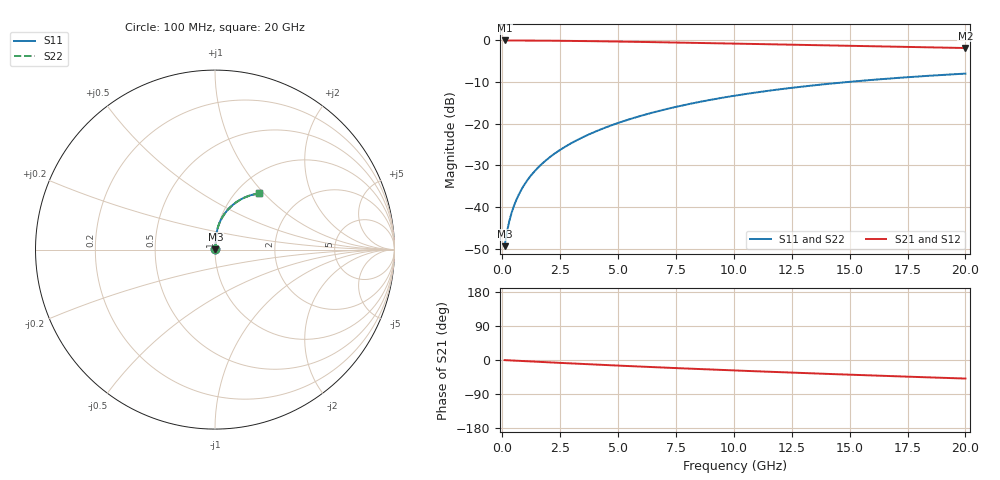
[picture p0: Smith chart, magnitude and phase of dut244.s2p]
! Touchstone file exported from HFSS 2024.1.0
!  File:  C:/UserFiles/LocalFiles/RDL_TSV_Batchsim/temp_RDL_top_244_1778688643.aedt
!  Generated:  12:13:28 AM May 14, 2026
!  Design:  RDL_top
!  Project:  temp_RDL_top_244_1778688643
!  Setup:  Setup1
!  Solution:  Sweep
! Variables:
!  dtsv = 10.80580581um
!  hbump = 3um
!  htsv = 93.9um
!  ldown = 100um
!  lrdl = 691.08um
!  p = 40
!  p1 = 59.32um
!  rhole = 1um
!  t = 450um
!  tdown = 3.915915916um
!  trdl = 3.82um
!  wdown = 15.38538539um
!  wrdl = 26.72um
# GHz S MA R 50.000000
! Terminal data exported
! Port[1] = Box2_T1
! Port[2] = Box2_T2
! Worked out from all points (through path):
!   200 points, 100 MHz to 20 GHz, reference 50 ohm
!   highest |S21| = -0.02 dB at 100 MHz (marker M1); lowest = -1.8 dB at 20 GHz (marker M2)
!   group delay of S21, straight-line fit = 6.73 ps
!   lowest |S11| = -49.4 dB at 100 MHz (marker M3), VSWR 1.01, Z = 50.3 + j0.214 ohm
!   |S11| at or under -10 dB: start of sweep to 14.91 GHz
!   |S22| runs from -49.4 to -8.0 dB; largest |S21 - S12| = 4.2e-15
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0.1  0.00338 38.9  0.9974 -0.3  0.9974 -0.3  0.00338 38.9
! Gamma 0 0 0 0
! Port Impedance 50 0 50 0
0.2  0.004987 55.8  0.9971 -0.6  0.9971 -0.6  0.004987 55.8
0.3  0.006712 63.9  0.9969 -0.9  0.9969 -0.9  0.006712 63.9
0.4  0.008461 68.8  0.9967 -1.3  0.9967 -1.3  0.008461 68.8
0.5  0.01023 72.1  0.9965 -1.6  0.9965 -1.6  0.01023 72.1
0.6  0.01202 74.6  0.9963 -1.9  0.9963 -1.9  0.01202 74.6
0.8  0.01567 78.0  0.9958 -2.5  0.9958 -2.5  0.01567 78.0
1.1  0.02124 81.0  0.995 -3.4  0.995 -3.4  0.02124 81.0
1.5  0.02883 83.2  0.9936 -4.6  0.9936 -4.6  0.02883 83.2
1.8  0.03463 84.1  0.9922 -5.5  0.9922 -5.5  0.03463 84.1
2.1  0.04051 84.8  0.9907 -6.4  0.9907 -6.4  0.04051 84.8
2.7  0.05254 85.4  0.9871 -8.2  0.9871 -8.2  0.05254 85.4
3.5  0.06915 85.5  0.9811 -10.5  0.9811 -10.5  0.06914 85.5
4.2  0.08418 85.0  0.9752 -12.5  0.9752 -12.5  0.08417 85.0
5  0.1019 84.2  0.9678 -14.8  0.9678 -14.8  0.1018 84.2
6.8  0.1429 81.1  0.9494 -19.6  0.9494 -19.6  0.1428 81.1
8.4  0.1797 77.7  0.9322 -23.6  0.9322 -23.6  0.1796 77.7
10.1  0.218 73.8  0.9136 -27.7  0.9136 -27.7  0.2179 73.8
11.7  0.2526 70.0  0.8961 -31.5  0.8961 -31.5  0.2525 70.0
13.4  0.2873 66.0  0.8777 -35.3  0.8777 -35.3  0.2872 66.0
16.7  0.3478 58.6  0.8425 -42.3  0.8425 -42.3  0.3477 58.6
20  0.3989 51.7  0.8089 -48.9  0.8089 -48.9  0.3988 51.7
